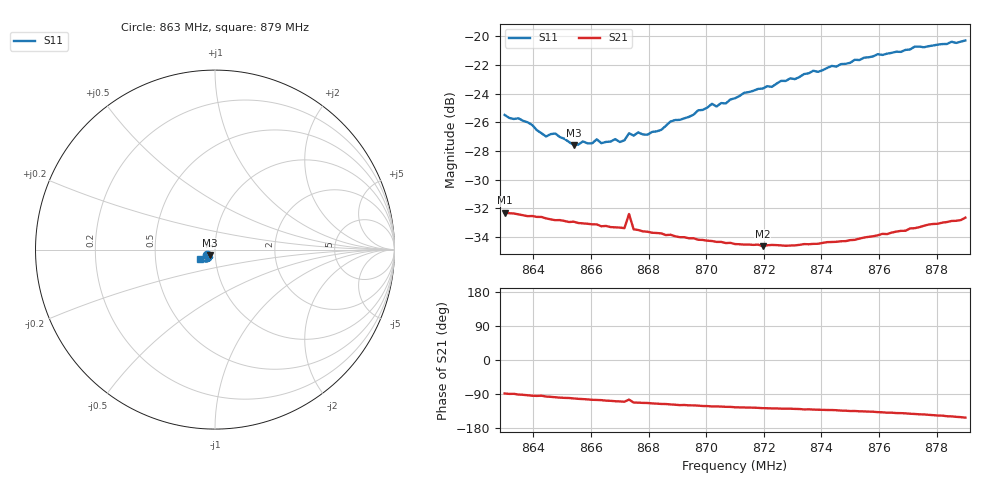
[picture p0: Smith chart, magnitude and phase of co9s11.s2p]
# HZ S RI R 50
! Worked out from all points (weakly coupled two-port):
!   101 points, 863 MHz to 879 MHz, reference 50 ohm
!   highest |S21| = -32.30 dB at 863 MHz (marker M1); lowest = -34.6 dB at 871.96 MHz (marker M2)
!   lowest |S11| = -27.6 dB at 865.4 MHz (marker M3), VSWR 1.09, Z = 47.1 - j2.87 ohm
!   |S11| at or under -10 dB: start of sweep to end of sweep
!   S12 and S22 are empty: the file has one direction only
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8.63e8  -0.0434 -0.0308  0.000698 -0.0242  0 0  0 0
8.638e8  -0.041 -0.0288  -0.00123 -0.0236  0 0  0 0
8.6444e8  -0.0341 -0.0289  -0.00262 -0.023  0 0  0 0
8.6476e8  -0.0339 -0.0309  -0.0033 -0.0226  0 0  0 0
8.654e8  -0.0288 -0.0304  -0.00448 -0.0221  0 0  0 0
8.6572e8  -0.0275 -0.033  -0.00507 -0.0217  0 0  0 0
8.662e8  -0.0266 -0.0347  -0.00588 -0.0213  0 0  0 0
8.6636e8  -0.0258 -0.0336  -0.00597 -0.0209  0 0  0 0
8.6716e8  -0.0228 -0.0369  -0.00734 -0.0201  0 0  0 0
8.6732e8  -0.0151 -0.0433  -0.00605 -0.0232  0 0  0 0
8.6748e8  -0.0219 -0.0394  -0.00803 -0.0197  0 0  0 0
8.6844e8  -0.0208 -0.0423  -0.00902 -0.0185  0 0  0 0
8.6876e8  -0.0213 -0.0457  -0.00932 -0.0181  0 0  0 0
8.694e8  -0.0214 -0.0478  -0.00979 -0.0172  0 0  0 0
8.702e8  -0.0246 -0.0527  -0.0104 -0.0163  0 0  0 0
8.7036e8  -0.0233 -0.0519  -0.0103 -0.0162  0 0  0 0
8.71e8  -0.0253 -0.0553  -0.0108 -0.0155  0 0  0 0
8.7196e8  -0.0298 -0.0586  -0.0112 -0.0148  0 0  0 0
8.7372e8  -0.0399 -0.0645  -0.0124 -0.0143  0 0  0 0
8.7644e8  -0.0611 -0.0626  -0.0156 -0.0136  0 0  0 0
8.7724e8  -0.0687 -0.0612  -0.017 -0.0131  0 0  0 0
8.79e8  -0.0825 -0.0504  -0.0206 -0.0109  0 0  0 0
